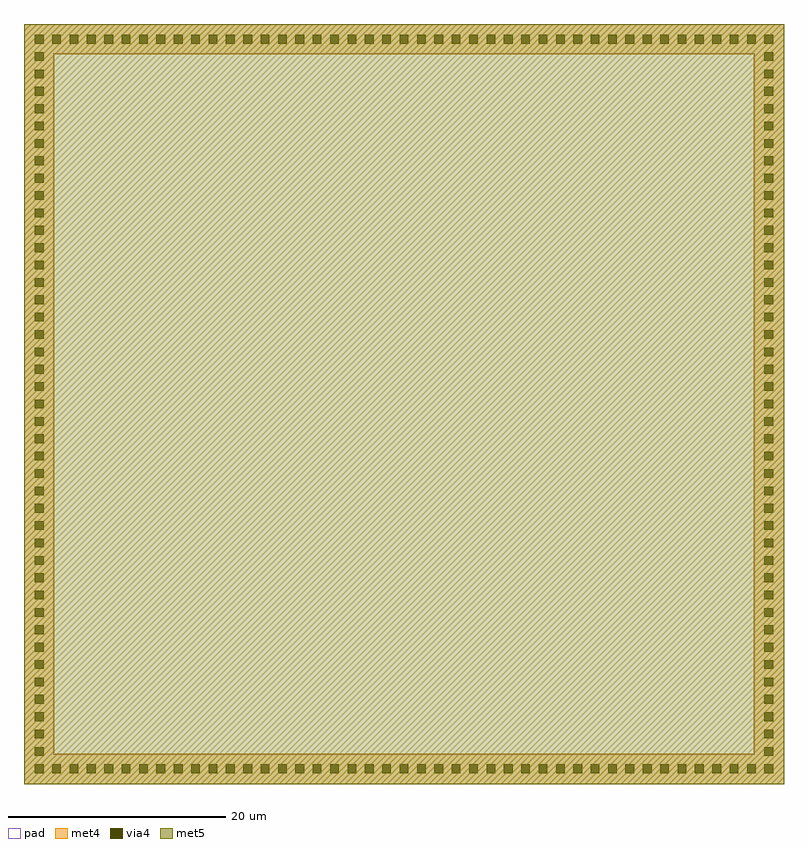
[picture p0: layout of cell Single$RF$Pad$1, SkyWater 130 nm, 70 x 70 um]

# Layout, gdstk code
import gdstk
lib = gdstk.Library(unit=1e-6, precision=1e-09)
def R(c, l, rs):  # rectangles x0, y0, x1, y1
    for r in rs: c.add(gdstk.rectangle(r[:2], r[2:], *l))
def A(c, l, x, y, w, h, nx, ny, dx, dy):  # array of equal rectangles
    R(c, l, [(x+i*dx, y+j*dy, x+i*dx+w, y+j*dy+h) for i in range(nx) for j in range(ny)])
def P(c, l, *ps):  # polygons
    for p in ps: c.add(gdstk.Polygon(p, *l))
met4 = (71, 20)
via4 = (71, 44)
met5 = (72, 20)
pad = (76, 20)

single_rf_pad_1 = lib.new_cell('Single$RF$Pad$1')
P(single_rf_pad_1, met4, [(-35,-35),(-35,32.2),(-32.2,32.2),(-32.2,-32.2),(32.2,-32.2),(32.2,32.2),(-35,32.2),(-35,35),(35,35),(35,-35)])
A(single_rf_pad_1, via4, -34, -34, 0.8, 0.8, 43, 2, 1.6, 67.2)
A(single_rf_pad_1, via4, -34, -32.4, 0.8, 0.8, 1, 42, 0, 1.6)
A(single_rf_pad_1, via4, 33.2, -32.4, 0.8, 0.8, 1, 42, 0, 1.6)
R(single_rf_pad_1, met5, [(-35,-35,35,35)])
R(single_rf_pad_1, pad, [(-32.3,-32.3,32.3,32.3)])

lib.write_gds('Single_RF_Pad_1.gds')
